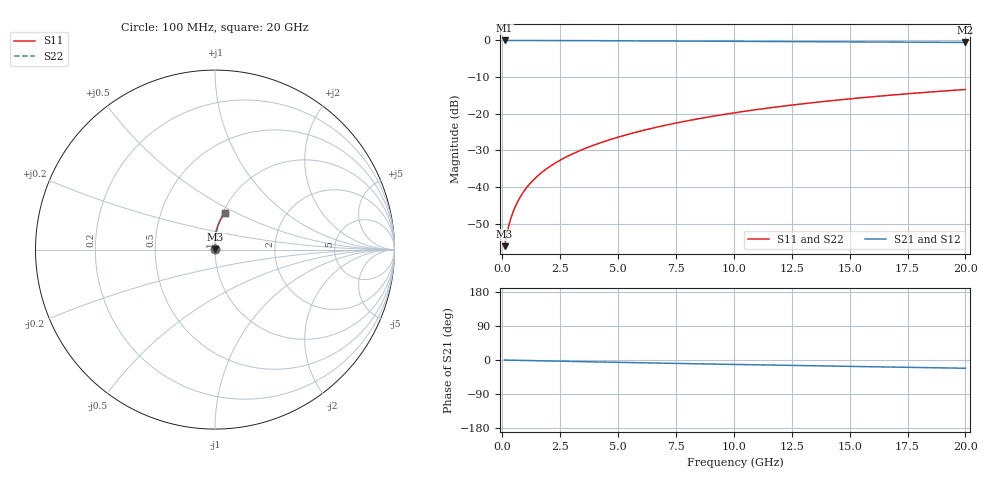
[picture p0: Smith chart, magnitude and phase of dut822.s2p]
! Touchstone file exported from HFSS 2024.1.0
!  File:  C:/UserFiles/LocalFiles/RDL_TSV_Batchsim/temp_RDL_bottom_822_1779862806.aedt
!  Generated:  02:22:44 PM May 27, 2026
!  Design:  RDL_bottom
!  Project:  temp_RDL_bottom_822_1779862806
!  Setup:  Setup1
!  Solution:  Sweep
! Variables:
!  dtsv = 10.80580581um
!  hbump = 3um
!  htsv = 85.96um
!  ldown = 294.82um
!  lrdl = 100um
!  p = 40
!  p1 = 49.3um
!  rhole = 1um
!  t = 450um
!  tdown = 4.48um
!  trdl = 3.915915916um
!  wdown = 23.37um
!  wrdl = 20um
# GHz S MA R 50.000000
! Terminal data exported
! Port[1] = RDL1_T1
! Port[2] = RDL1_T2
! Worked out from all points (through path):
!   200 points, 100 MHz to 20 GHz, reference 50 ohm
!   highest |S21| = -0.01 dB at 100 MHz (marker M1); lowest = -0.5 dB at 20 GHz (marker M2)
!   group delay of S21, straight-line fit = 2.99 ps
!   lowest |S11| = -56.2 dB at 100 MHz (marker M3), VSWR 1.00, Z = 50.1 + j0.102 ohm
!   |S11| at or under -10 dB: start of sweep to end of sweep
!   |S22| runs from -56.2 to -13.4 dB; largest |S21 - S12| = 2.7e-15
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0.1  0.001553 40.7  0.9988 -0.1  0.9988 -0.1  0.001553 40.7
! Gamma 0 0 0 0
! Port Impedance 50 0 50 0
0.2  0.00231 57.3  0.9987 -0.3  0.9987 -0.3  0.00231 57.3
0.3  0.003126 65.7  0.9986 -0.4  0.9986 -0.4  0.003125 65.7
0.4  0.003972 70.9  0.9986 -0.5  0.9986 -0.5  0.003972 70.9
0.5  0.00484 74.3  0.9985 -0.7  0.9985 -0.7  0.00484 74.3
0.6  0.005722 76.7  0.9984 -0.8  0.9984 -0.8  0.005722 76.7
0.8  0.00751 79.9  0.9982 -1.0  0.9982 -1.0  0.00751 79.9
1.1  0.01023 82.7  0.998 -1.4  0.998 -1.4  0.01023 82.7
1.5  0.01389 84.8  0.9975 -1.9  0.9975 -1.9  0.01389 84.8
1.8  0.01665 85.8  0.997 -2.3  0.997 -2.3  0.01665 85.8
2.1  0.01944 86.5  0.9965 -2.7  0.9965 -2.7  0.01944 86.5
2.7  0.02508 87.5  0.9953 -3.4  0.9953 -3.4  0.02508 87.5
3.5  0.03276 88.3  0.9934 -4.4  0.9934 -4.4  0.03276 88.3
4.2  0.03966 88.7  0.9914 -5.2  0.9914 -5.2  0.03966 88.7
5  0.04777 88.9  0.989 -6.2  0.989 -6.2  0.04776 88.9
6.8  0.0668 88.5  0.9831 -8.2  0.9831 -8.2  0.0668 88.5
8.4  0.08445 87.5  0.9776 -10.0  0.9776 -10.0  0.08444 87.5
10.1  0.1036 86.0  0.9718 -11.8  0.9718 -11.8  0.1036 86.0
11.7  0.1219 84.4  0.9664 -13.5  0.9664 -13.5  0.1219 84.4
13.4  0.1412 82.5  0.9608 -15.2  0.9608 -15.2  0.1412 82.5
16.7  0.1782 78.7  0.9499 -18.5  0.9499 -18.5  0.1782 78.7
20  0.214 74.9  0.9389 -21.8  0.9389 -21.8  0.2139 74.9
